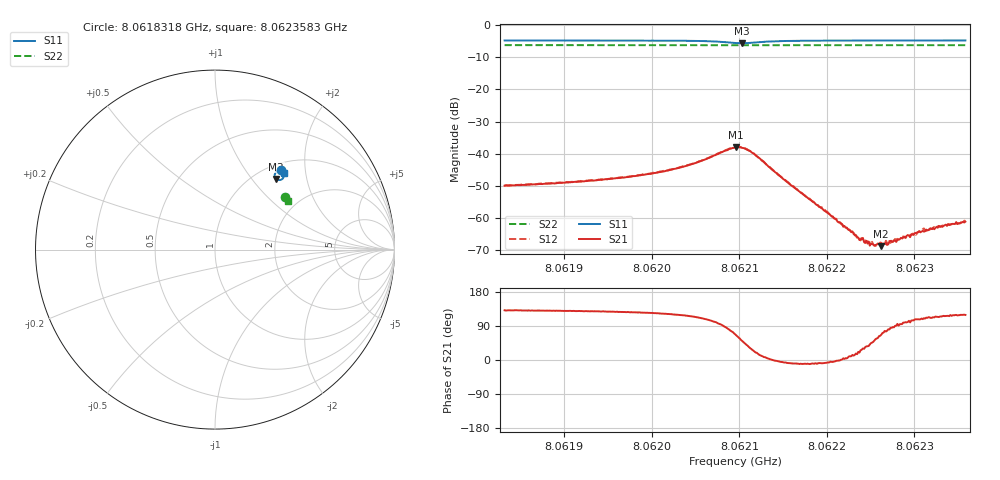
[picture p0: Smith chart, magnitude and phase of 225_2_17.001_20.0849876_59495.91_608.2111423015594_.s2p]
#  HZ  S  RI  R  50.00
! Rohde & Schwarz Vector Network Analyzer
! Rohde-Schwarz,ZNB20-2Port,1311601062101988,3.16
! Created: UTC 3/20/2024, 11:02:08 PM
! freq[Hz]  re:S11  im:S11  re:S21  im:S21  re:S12  im:S12  re:S22  im:S22
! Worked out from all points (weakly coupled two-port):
!   401 points, 8.0618318 GHz to 8.0623583 GHz, reference 50 ohm
!   highest |S21| = -37.95 dB at 8.0620964 GHz (marker M1); lowest = -68.6 dB at 8.0622622 GHz (marker M2)
!   lowest |S11| = -5.7 dB at 8.0621029 GHz (marker M3), VSWR 3.18, Z = 61.9 + j66.9 ohm
!   |S11| at or under -10 dB: nowhere
!   |S22| runs from -6.3 to -6.2 dB; largest |S21 - S12| = 0.00098
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8.06183178e9  0.3657 0.4447  -0.0021 0.0024  -0.00199 0.00255  0.3874 0.2954
8.06191997e9  0.3723 0.4388  -0.00235 0.00288  -0.00217 0.00307  0.3905 0.2911
8.06197394e9  0.377 0.4336  -0.00259 0.00353  -0.0024 0.00374  0.3925 0.2884
8.06200816e9  0.3804 0.4288  -0.00281 0.00432  -0.00259 0.00454  0.3935 0.2865
8.06205028e9  0.3845 0.4164  -0.00286 0.00662  -0.00247 0.00688  0.3948 0.2839
8.06209503e9  0.3563 0.3873  0.00474 0.0117  0.00541 0.0113  0.3946 0.281
8.06209635e9  0.3537 0.3878  0.0053 0.0115  0.00603 0.0112  0.3947 0.281
8.06210293e9  0.3415 0.3937  0.00786 0.00962  0.00857 0.00927  0.3943 0.2811
8.06210951e9  0.3339 0.4048  0.00907 0.00696  0.00967 0.00636  0.3943 0.2815
8.06211873e9  0.3334 0.4209  0.0089 0.0032  0.00917 0.00261  0.3948 0.2817
8.06215163e9  0.3551 0.4393  0.00391 -0.000465  0.00388 -0.000687  0.397 0.2808
8.06218322e9  0.3663 0.4387  0.00182 -0.000294  0.00178 -0.000402  0.3986 0.279
8.0621977e9  0.3695 0.4377  0.00128 -0.000173  0.00132 -0.000275  0.3991 0.2782
8.06223587e9  0.3754 0.4348  0.000463 0.000182  0.000496 0.000165  0.4006 0.2763
8.0622464e9  0.3768 0.4341  0.000325 0.000238  0.000364 0.000241  0.4009 0.2758
8.06225562e9  0.3778 0.4336  0.000219 0.000314  0.000245 0.000276  0.4012 0.2752
8.0622622e9  0.3783 0.4331  0.000144 0.000341  0.00018 0.000373  0.4014 0.275
8.06227141e9  0.3793 0.4324  7e-05 0.000422  0.000109 0.000429  0.4018 0.2744
8.06230432e9  0.3824 0.4303  -0.000182 0.000579  -0.000167 0.000585  0.403 0.2728
8.06230827e9  0.3827 0.4301  -0.000205 0.000583  -0.000179 0.000589  0.4029 0.2725
8.06233591e9  0.3848 0.4284  -0.000347 0.000712  -0.000299 0.000696  0.404 0.2711
8.06235828e9  0.3864 0.427  -0.000426 0.000771  -0.000367 0.000829  0.4046 0.27
